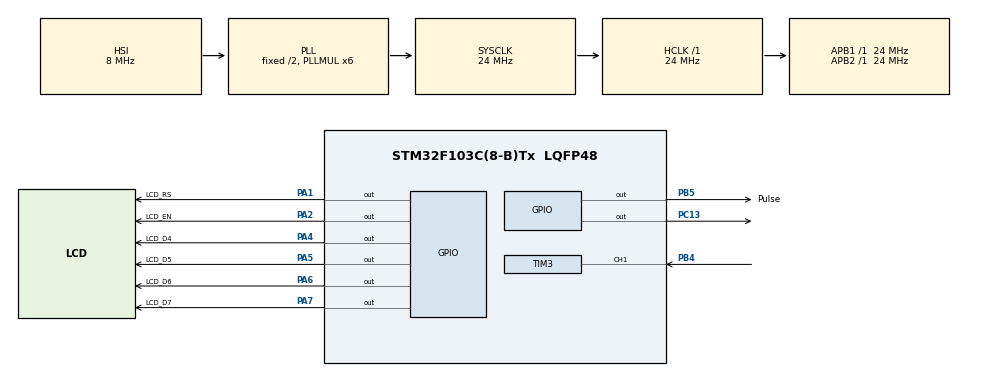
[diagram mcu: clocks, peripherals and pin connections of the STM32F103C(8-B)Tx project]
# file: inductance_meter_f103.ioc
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Mcu.Family=STM32F1
Mcu.Name=STM32F103C(8-B)Tx
Mcu.Package=LQFP48
NVIC.PriorityGroup=NVIC_PRIORITYGROUP_4
NVIC.TIM3_IRQn=true\:0\:0\:false\:false\:true\:true\:true
PA1.GPIO_Label=LCD_RS
PA1.Signal=GPIO_Output
PA13.Mode=Serial_Wire
PA13.Signal=SYS_JTMS-SWDIO
PA14.Mode=Serial_Wire
PA14.Signal=SYS_JTCK-SWCLK
PA2.GPIO_Label=LCD_EN
PA2.Signal=GPIO_Output
PA4.GPIO_Label=LCD_D4
PA4.Signal=GPIO_Output
PA5.GPIO_Label=LCD_D5
PA5.Signal=GPIO_Output
PA6.GPIO_Label=LCD_D6
PA6.Signal=GPIO_Output
PA7.GPIO_Label=LCD_D7
PA7.Signal=GPIO_Output
PB4.Signal=S_TIM3_CH1
PB5.GPIO_Label=Pulse
PB5.Signal=GPIO_Output
PC13-TAMPER-RTC.Signal=GPIO_Output
PD0-OSC_IN.Mode=HSE-External-Oscillator
PD0-OSC_IN.Signal=RCC_OSC_IN
PD1-OSC_OUT.Mode=HSE-External-Oscillator
PD1-OSC_OUT.Signal=RCC_OSC_OUT
ProjectManager.HeapSize=0x200
ProjectManager.StackSize=0x400
ProjectManager.TargetToolchain=MDK-ARM V5.27
RCC.AHBFreq_Value=24000000
RCC.APB1Freq_Value=24000000
RCC.APB1TimFreq_Value=24000000
RCC.APB2Freq_Value=24000000
RCC.APB2TimFreq_Value=24000000
RCC.HCLKFreq_Value=24000000
RCC.PLLMUL=RCC_PLL_MUL6
RCC.SYSCLKFreq_VALUE=24000000
RCC.SYSCLKSource=RCC_SYSCLKSOURCE_PLLCLK
RCC.USBFreq_Value=24000000
SH.S_TIM3_CH1.0=TIM3_CH1,Input_Capture1_from_TI1
TIM3.Channel-Input_Capture1_from_TI1=TIM_CHANNEL_1
TIM3.Period=0xffff-1
board=custom

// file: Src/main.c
/* USER CODE BEGIN Header */
/**
  ******************************************************************************
  * @file           : main.c
  * @brief          : EREN AKYOL
  ******************************************************************************
  * @attention
  *
  * <h2><center>&copy; Copyright (c) 2020 STMicroelectronics.
  * All rights reserved.</center></h2>
  *
  * This software component is licensed by ST under BSD 3-Clause license,
  * the "License"; You may not use this file except in compliance with the
  * License. You may obtain a copy of the License at:
  *                        opensource.org/licenses/BSD-3-Clause
  *
  ******************************************************************************
  */
/* USER CODE END Header */

#include "main.h"

/* USER CODE BEGIN Includes */
#include "defines.h"
#include "tm_stm32_delay.h"
#include "LCD.h"
#include "string.h"
/* USER CODE END Includes */

/* USER CODE BEGIN PTD */
	double value       = 0;
	double capacitance = 0;
	double frequency   = 0;
	double inductance  = 0;
	double freq			   = 0;

	uint16_t increment = 0;

	uint32_t IC_Value1 = 0;
	uint32_t IC_Value2 = 0;
	uint32_t Difference = 0;
	uint32_t Frequency = 0;
	uint8_t Is_First_Captured = 0;  // 0- not captured, 1- captured

	char masage_1[100];
/* USER CODE END PTD */

TIM_HandleTypeDef htim3;

void SystemClock_Config(void);
static void MX_GPIO_Init(void);
static void MX_TIM3_Init(void);

/* USER CODE BEGIN 0 */
void HAL_TIM_IC_CaptureCallback(TIM_HandleTypeDef *htim)
{
	if (htim->Channel == HAL_TIM_ACTIVE_CHANNEL_1)  // if interrput source is channel 1
	{
		if (Is_First_Captured==0)  // is the first value captured ?
		{
			IC_Value1 = HAL_TIM_ReadCapturedValue(htim, TIM_CHANNEL_1);  // capture the first value
			Is_First_Captured =1;  // set the first value captured as true
		}

		else if (Is_First_Captured)  // if the first is captured
		{
			IC_Value2 = HAL_TIM_ReadCapturedValue(htim, TIM_CHANNEL_1);  // capture second value

			if (IC_Value2 > IC_Value1)
			{
				Difference = IC_Value2-IC_Value1;   // calculate the difference
			}

			else if (IC_Value2 < IC_Value1)
			{
				Difference = ((0xffff-IC_Value1)+IC_Value2) +1;
			}

			else
			{
				Error_Handler();
			}

			Frequency = HAL_RCC_GetPCLK1Freq()/Difference;  // calculate frequency
			Is_First_Captured = 0;  // reset the first captured
		}
	}
}
/* USER CODE END 0 */

int main(void)
{

  /* MCU Configuration--------------------------------------------------------*/

  /* Reset of all peripherals, Initializes the Flash interface and the Systick. */
  HAL_Init();

  /* Configure the system clock */
  SystemClock_Config();

  /* Initialize all configured peripherals */
  MX_GPIO_Init();
  MX_TIM3_Init();
  /* USER CODE BEGIN 2 */
	HAL_TIM_IC_Start_IT(&htim3, TIM_CHANNEL_1);
	TM_DELAY_Init();
	lcd_init(_LCD_4BIT, _LCD_FONT_5x8, _LCD_2LINE);
  /* USER CODE END 2 */

  /* Infinite loop */
  /* USER CODE BEGIN WHILE */
  while (1)
  {

		HAL_GPIO_WritePin(GPIOB, GPIO_PIN_5, GPIO_PIN_SET);
		HAL_Delay(5);
		HAL_GPIO_WritePin(GPIOB, GPIO_PIN_5, GPIO_PIN_RESET);
		Delay(1000);

		if(Frequency > 0.1)
		{
			capacitance = 1.E-6;
//			frequency  = 1.E6/(2*Frequency);
			inductance  = 1./(capacitance*Frequency*Frequency*4.*3.14159*3.14159);

			inductance *= 1E6;
		}
		sprintf(masage_1,"L = %.2f uH",inductance);
		HAL_Delay(1000);
		lcd_print(1,1,masage_1);
		lcd_print(2,1,"INDUCTANCE METER");
    /* USER CODE END WHILE */

  }
}

void SystemClock_Config(void)
{
  RCC_OscInitTypeDef RCC_OscInitStruct = {0};
  RCC_ClkInitTypeDef RCC_ClkInitStruct = {0};

  /** Initializes the CPU, AHB and APB busses clocks
  */
  RCC_OscInitStruct.OscillatorType = RCC_OSCILLATORTYPE_HSI;
  RCC_OscInitStruct.HSIState = RCC_HSI_ON;
  RCC_OscInitStruct.HSICalibrationValue = RCC_HSICALIBRATION_DEFAULT;
  RCC_OscInitStruct.PLL.PLLState = RCC_PLL_ON;
  RCC_OscInitStruct.PLL.PLLSource = RCC_PLLSOURCE_HSI_DIV2;
  RCC_OscInitStruct.PLL.PLLMUL = RCC_PLL_MUL6;
  if (HAL_RCC_OscConfig(&RCC_OscInitStruct) != HAL_OK)
  {
    Error_Handler();
  }
  /** Initializes the CPU, AHB and APB busses clocks
  */
  RCC_ClkInitStruct.ClockType = RCC_CLOCKTYPE_HCLK|RCC_CLOCKTYPE_SYSCLK
                              |RCC_CLOCKTYPE_PCLK1|RCC_CLOCKTYPE_PCLK2;
  RCC_ClkInitStruct.SYSCLKSource = RCC_SYSCLKSOURCE_PLLCLK;
  RCC_ClkInitStruct.AHBCLKDivider = RCC_SYSCLK_DIV1;
  RCC_ClkInitStruct.APB1CLKDivider = RCC_HCLK_DIV1;
  RCC_ClkInitStruct.APB2CLKDivider = RCC_HCLK_DIV1;

  if (HAL_RCC_ClockConfig(&RCC_ClkInitStruct, FLASH_LATENCY_0) != HAL_OK)
  {
    Error_Handler();
  }
}

static void MX_TIM3_Init(void)
{

  TIM_MasterConfigTypeDef sMasterConfig = {0};
  TIM_IC_InitTypeDef sConfigIC = {0};

  htim3.Instance = TIM3;
  htim3.Init.Prescaler = 0;
  htim3.Init.CounterMode = TIM_COUNTERMODE_UP;
  htim3.Init.Period = 0xffff-1;
  htim3.Init.ClockDivision = TIM_CLOCKDIVISION_DIV1;
  htim3.Init.AutoReloadPreload = TIM_AUTORELOAD_PRELOAD_DISABLE;
  if (HAL_TIM_IC_Init(&htim3) != HAL_OK)
  {
    Error_Handler();
  }
  sMasterConfig.MasterOutputTrigger = TIM_TRGO_RESET;
  sMasterConfig.MasterSlaveMode = TIM_MASTERSLAVEMODE_DISABLE;
  if (HAL_TIMEx_MasterConfigSynchronization(&htim3, &sMasterConfig) != HAL_OK)
  {
    Error_Handler();
  }
  sConfigIC.ICPolarity = TIM_INPUTCHANNELPOLARITY_RISING;
  sConfigIC.ICSelection = TIM_ICSELECTION_DIRECTTI;
  sConfigIC.ICPrescaler = TIM_ICPSC_DIV1;
  sConfigIC.ICFilter = 0;
  if (HAL_TIM_IC_ConfigChannel(&htim3, &sConfigIC, TIM_CHANNEL_1) != HAL_OK)
  {
    Error_Handler();
  }

}

static void MX_GPIO_Init(void)
{
  GPIO_InitTypeDef GPIO_InitStruct = {0};

  /* GPIO Ports Clock Enable */
  __HAL_RCC_GPIOC_CLK_ENABLE();
  __HAL_RCC_GPIOD_CLK_ENABLE();
  __HAL_RCC_GPIOA_CLK_ENABLE();
  __HAL_RCC_GPIOB_CLK_ENABLE();

  /*Configure GPIO pin Output Level */
  HAL_GPIO_WritePin(GPIOC, GPIO_PIN_13, GPIO_PIN_RESET);

  /*Configure GPIO pin Output Level */
  HAL_GPIO_WritePin(GPIOA, LCD_RS_Pin|LCD_EN_Pin|LCD_D4_Pin|LCD_D5_Pin
                          |LCD_D6_Pin|LCD_D7_Pin, GPIO_PIN_RESET);

  /*Configure GPIO pin Output Level */
  HAL_GPIO_WritePin(Pulse_GPIO_Port, Pulse_Pin, GPIO_PIN_RESET);

  /*Configure GPIO pin : PC13 */
  GPIO_InitStruct.Pin = GPIO_PIN_13;
  GPIO_InitStruct.Mode = GPIO_MODE_OUTPUT_PP;
  GPIO_InitStruct.Pull = GPIO_NOPULL;
  GPIO_InitStruct.Speed = GPIO_SPEED_FREQ_LOW;
  HAL_GPIO_Init(GPIOC, &GPIO_InitStruct);

  /*Configure GPIO pins : LCD_RS_Pin LCD_EN_Pin LCD_D4_Pin LCD_D5_Pin
                           LCD_D6_Pin LCD_D7_Pin */
  GPIO_InitStruct.Pin = LCD_RS_Pin|LCD_EN_Pin|LCD_D4_Pin|LCD_D5_Pin
                          |LCD_D6_Pin|LCD_D7_Pin;
  GPIO_InitStruct.Mode = GPIO_MODE_OUTPUT_PP;
  GPIO_InitStruct.Pull = GPIO_NOPULL;
  GPIO_InitStruct.Speed = GPIO_SPEED_FREQ_LOW;
  HAL_GPIO_Init(GPIOA, &GPIO_InitStruct);

  /*Configure GPIO pin : Pulse_Pin */
  GPIO_InitStruct.Pin = Pulse_Pin;
  GPIO_InitStruct.Mode = GPIO_MODE_OUTPUT_PP;
  GPIO_InitStruct.Pull = GPIO_NOPULL;
  GPIO_InitStruct.Speed = GPIO_SPEED_FREQ_LOW;
  HAL_GPIO_Init(Pulse_GPIO_Port, &GPIO_InitStruct);

}

void Error_Handler(void)
{
}

/************************ (C) COPYRIGHT STMicroelectronics *****END OF FILE****/
